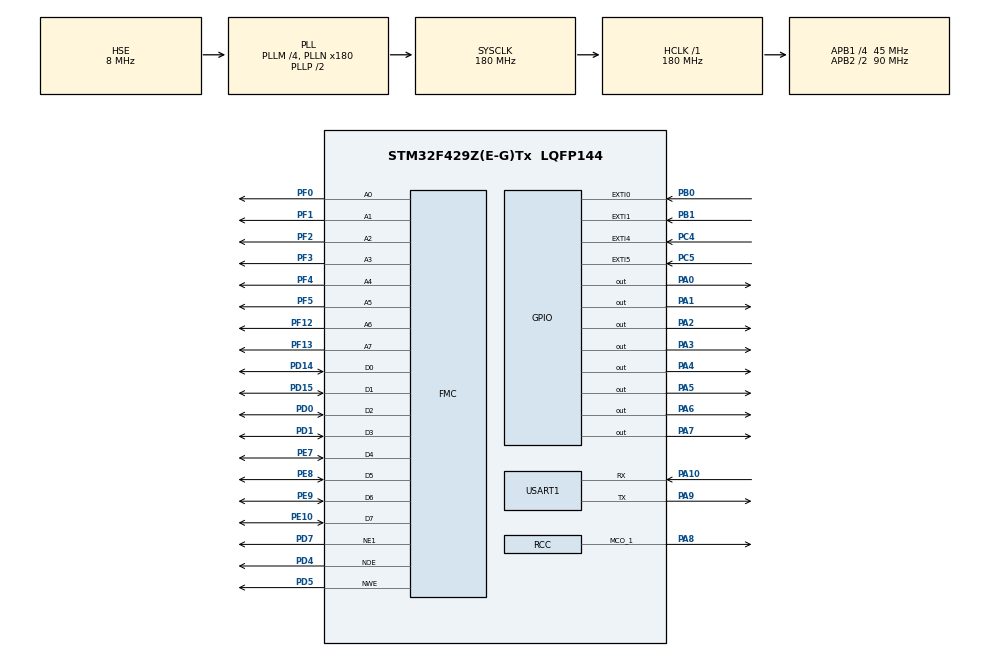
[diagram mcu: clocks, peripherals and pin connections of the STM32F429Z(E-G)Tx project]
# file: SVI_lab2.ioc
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Mcu.Family=STM32F4
PD7.Mode=NorPsramChipSelect1_1
SH.FMC_D7_DA7.0=FMC_D7,8b-d1
RCC.CortexFreq_Value=180000000
SH.FMC_A0.0=FMC_A0,8b-a1
SH.FMC_D6_DA6.0=FMC_D6,8b-d1
PA0/WKUP.Signal=GPIO_Output
SH.FMC_D5_DA5.0=FMC_D5,8b-d1
FMC.WriteOperation1=FMC_WRITE_OPERATION_ENABLE
SH.FMC_NWE.0=FMC_NWE,Sram1
RCC.SYSCLKSource=RCC_SYSCLKSOURCE_PLLCLK
ProjectManager.StackSize=0x400
SH.FMC_A7.0=FMC_A7,8b-a1
NVIC.EXTI1_IRQn=true\:0\:0\:false\:false\:true\:true\:true
PH0/OSC_IN.Mode=HSE-External-Oscillator
PB1.GPIO_PuPd=GPIO_PULLUP
RCC.HCLKFreq_Value=180000000
PD4.Signal=FMC_NOE
RCC.APB2TimFreq_Value=180000000
PB1.GPIO_ModeDefaultEXTI=GPIO_MODE_IT_RISING
PH1/OSC_OUT.Signal=RCC_OSC_OUT
PF12.Signal=FMC_A6
PD0.Signal=FMC_D2_DA2
RCC.AHBFreq_Value=180000000
RCC.HSE_VALUE=8000000
PB0.GPIO_ModeDefaultEXTI=GPIO_MODE_IT_RISING
SH.FMC_D2_DA2.0=FMC_D2,8b-d1
PE9.Signal=FMC_D6_DA6
SH.FMC_A2.0=FMC_A2,8b-a1
PA8.Signal=RCC_MCO_1
SH.FMC_D1_DA1.0=FMC_D1,8b-d1
PF3.Signal=FMC_A3
PH1/OSC_OUT.Mode=HSE-External-Oscillator
PE10.Signal=FMC_D7_DA7
Mcu.Package=LQFP144
PB1.Signal=GPXTI1
PA6.Signal=GPIO_Output
SH.FMC_D0_DA0.0=FMC_D0,8b-d1
PA10.Signal=USART1_RX
SH.FMC_D4_DA4.0=FMC_D4,8b-d1
PF5.Signal=FMC_A5
SH.FMC_A1.0=FMC_A1,8b-a1
RCC.APB2CLKDivider=RCC_HCLK_DIV2
RCC.APB1TimFreq_Value=90000000
PF0.Signal=FMC_A0
PC5.Signal=GPXTI5
PE7.Signal=FMC_D4_DA4
PD15.Signal=FMC_D1_DA1
SH.FMC_D3_DA3.0=FMC_D3,8b-d1
PA3.Signal=GPIO_Output
RCC.PLLSourceVirtual=RCC_PLLSOURCE_HSE
NVIC.EXTI4_IRQn=true\:0\:0\:false\:false\:true\:true\:true
SH.FMC_A4.0=FMC_A4,8b-a1
PC4.GPIO_ModeDefaultEXTI=GPIO_MODE_IT_RISING
PA10.Mode=Asynchronous
PC4.GPIO_PuPd=GPIO_PULLUP
PC4.Signal=GPXTI4
PD7.Signal=FMC_NE1
PD1.Signal=FMC_D3_DA3
PD5.Signal=FMC_NWE
RCC.APB1CLKDivider=RCC_HCLK_DIV4
PC5.GPIO_PuPd=GPIO_PULLUP
SH.FMC_NOE.0=FMC_NOE,Sram1
SH.FMC_A3.0=FMC_A3,8b-a1
PA9.Mode=Asynchronous
ProjectManager.TargetToolchain=TrueSTUDIO
PA9.Signal=USART1_TX
PF2.Signal=FMC_A2
RCC.LSE_VALUE=32768
PA1.Signal=GPIO_Output
PC5.GPIO_ModeDefaultEXTI=GPIO_MODE_IT_RISING
PA5.Signal=GPIO_Output
board=custom
RCC.VCOOutputFreq_Value=360000000
PH0/OSC_IN.Signal=RCC_OSC_IN
SH.FMC_A6.0=FMC_A6,8b-a1
RCC.APB2Freq_Value=90000000
PE8.Signal=FMC_D5_DA5
PF13.Signal=FMC_A7
PF1.Signal=FMC_A1
Mcu.Name=STM32F429Z(E-G)Tx
PA2.Signal=GPIO_Output
PD14.Signal=FMC_D0_DA0
RCC.48MHZClocksFreq_Value=90000000
NVIC.EXTI0_IRQn=true\:0\:0\:false\:false\:true\:true\:true
PA4.Signal=GPIO_Output
RCC.SYSCLKFreq_VALUE=180000000
USART1.VirtualMode=VM_ASYNC
SH.FMC_A5.0=FMC_A5,8b-a1
NVIC.EXTI9_5_IRQn=true\:0\:0\:false\:false\:true\:true\:true
ProjectManager.HeapSize=0x200
RCC.HSI_VALUE=16000000
NVIC.PriorityGroup=NVIC_PRIORITYGROUP_4
RCC.PLLM=4
RCC.PLLN=180
PA8.Mode=Clock-out-1
PF4.Signal=FMC_A4
RCC.APB1Freq_Value=45000000
PB0.Signal=GPXTI0
PB0.GPIO_PuPd=GPIO_PULLUP
PA7.Signal=GPIO_Output

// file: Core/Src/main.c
/* USER CODE BEGIN Header */
/**
  ******************************************************************************
  * @file           : main.c
  * @brief          : Main program body
  ******************************************************************************
  * @attention
  *
  * <h2><center>&copy; Copyright (c) 2021 STMicroelectronics.
  * All rights reserved.</center></h2>
  *
  * This software component is licensed by ST under BSD 3-Clause license,
  * the "License"; You may not use this file except in compliance with the
  * License. You may obtain a copy of the License at:
  *                        opensource.org/licenses/BSD-3-Clause
  *
  ******************************************************************************
  */
/* USER CODE END Header */
#include "main.h"

UART_HandleTypeDef huart1;

SRAM_HandleTypeDef hsram1;

void SystemClock_Config(void);
static void MX_GPIO_Init(void);
static void MX_FMC_Init(void);
static void MX_USART1_UART_Init(void);
void ExtSramWrite(uint32_t addr, uint8_t data);
void Reset_HLx_Leds();
void Rest_all();

/* USER CODE BEGIN 0 */
/* Global vars for interrupt handling */
uint8_t btn1_flag = 0;
uint8_t btn2_flag = 0;
uint8_t btn3_flag = 0;
uint8_t btn4_flag = 0;
uint8_t prev_state = 0;
/* USER CODE END 0 */

int main(void)
{

  /* MCU Configuration--------------------------------------------------------*/

  /* Reset of all peripherals, Initializes the Flash interface and the Systick. */
  HAL_Init();

  /* Configure the system clock */
  SystemClock_Config();

  /* Initialize all configured peripherals */
  MX_GPIO_Init();
  MX_FMC_Init();
  MX_USART1_UART_Init();

  /* Infinite loop */
  while (1)
  {

    /* USER CODE BEGIN 3 */
	  Reset_all();

	  if(btn1_flag == 1) {
		  btn1_flag = 0;
		  /*Mode 1*/
		  ExtSramWrite(0x60000001, 0xCC);
		  Reset_HLx_Leds();
		  HAL_GPIO_WritePin(GPIOA, GPIO_PIN_2|GPIO_PIN_3|
								   GPIO_PIN_6|GPIO_PIN_7, GPIO_PIN_SET);
		  HAL_Delay(500);

		  ExtSramWrite(0x60000001, 0x33);
		  Reset_HLx_Leds();
		  HAL_GPIO_WritePin(GPIOA, GPIO_PIN_0|GPIO_PIN_1|
								   GPIO_PIN_4|GPIO_PIN_5, GPIO_PIN_SET);
		  HAL_Delay(500);

		  /*Mode 2*/
		  ExtSramWrite(0x60000001, 0xF0);
		  Reset_HLx_Leds();
		  HAL_GPIO_WritePin(GPIOA, GPIO_PIN_4|GPIO_PIN_5|
								   GPIO_PIN_6|GPIO_PIN_7, GPIO_PIN_SET);
		  HAL_Delay(500);
		  ExtSramWrite(0x60000001, 0xF);
		  Reset_HLx_Leds();
		  HAL_GPIO_WritePin(GPIOA, GPIO_PIN_0|GPIO_PIN_1|
								   GPIO_PIN_2|GPIO_PIN_3, GPIO_PIN_SET);
		  HAL_Delay(500);

	  } else if(btn2_flag == 1) {
		  btn2_flag = 0;
		  /*Mode 3*/
		  ExtSramWrite(0x60000001, 0xC3);
		  Reset_HLx_Leds();
		  HAL_GPIO_WritePin(GPIOA, GPIO_PIN_0|GPIO_PIN_1|
								   GPIO_PIN_6|GPIO_PIN_7, GPIO_PIN_SET);
		  HAL_Delay(500);
		  ExtSramWrite(0x60000001, 0x3C);
		  Reset_HLx_Leds();
		  HAL_GPIO_WritePin(GPIOA, GPIO_PIN_2|GPIO_PIN_3|
								   GPIO_PIN_4|GPIO_PIN_5, GPIO_PIN_SET);
		  HAL_Delay(500);

		  /*Mode 4*/
		  ExtSramWrite(0x60000001, 0xE7);
		  Reset_HLx_Leds();
		  HAL_GPIO_WritePin(GPIOA, GPIO_PIN_0|GPIO_PIN_1|GPIO_PIN_2|GPIO_PIN_5|
								   GPIO_PIN_6|GPIO_PIN_7, GPIO_PIN_SET);
		  HAL_Delay(500);
		  ExtSramWrite(0x60000001, 0x18);
		  Reset_HLx_Leds();
		  HAL_GPIO_WritePin(GPIOA, GPIO_PIN_3|GPIO_PIN_4, GPIO_PIN_SET);
		  HAL_Delay(500);

	  } else if(btn3_flag == 1) {
		  btn3_flag = 0;
		  /*Mode 5*/
		  ExtSramWrite(0x60000001, 0x66);
		  Reset_HLx_Leds();
		  HAL_GPIO_WritePin(GPIOA, GPIO_PIN_1|GPIO_PIN_2|
								   GPIO_PIN_5|GPIO_PIN_6, GPIO_PIN_SET);
		  HAL_Delay(500);
		  ExtSramWrite(0x60000001, 0x99);
		  Reset_HLx_Leds();
		  HAL_GPIO_WritePin(GPIOA, GPIO_PIN_0|GPIO_PIN_3|
								   GPIO_PIN_4|GPIO_PIN_7, GPIO_PIN_SET);
		  HAL_Delay(500);

		  /*Mode 6*/
		  ExtSramWrite(0x60000001, 0x7E);
		  Reset_HLx_Leds();
		  HAL_GPIO_WritePin(GPIOA, GPIO_PIN_1|GPIO_PIN_2|GPIO_PIN_3|GPIO_PIN_4|
								   GPIO_PIN_5|GPIO_PIN_6, GPIO_PIN_SET);
		  HAL_Delay(500);
		  ExtSramWrite(0x60000001, 0x81);
		  Reset_HLx_Leds();
		  HAL_GPIO_WritePin(GPIOA, GPIO_PIN_0|GPIO_PIN_7, GPIO_PIN_SET);
		  HAL_Delay(500);

	  } else if(btn4_flag == 1) {
		  btn4_flag = 0;
		  /*Mode 7*/
		  ExtSramWrite(0x60000001, 0x5A);
		  Reset_HLx_Leds();
		  HAL_GPIO_WritePin(GPIOA, GPIO_PIN_1|GPIO_PIN_3|
								   GPIO_PIN_4|GPIO_PIN_6, GPIO_PIN_SET);
		  HAL_Delay(500);
		  ExtSramWrite(0x60000001, 0xA5);
		  Reset_HLx_Leds();
		  HAL_GPIO_WritePin(GPIOA, GPIO_PIN_0|GPIO_PIN_2|
								   GPIO_PIN_5|GPIO_PIN_7, GPIO_PIN_SET);
		  HAL_Delay(500);

		  /*Mode 8*/
		  ExtSramWrite(0x60000001, 0x8E);
		  Reset_HLx_Leds();\
		  HAL_GPIO_WritePin(GPIOA, GPIO_PIN_1|GPIO_PIN_2|
								   GPIO_PIN_3|GPIO_PIN_7, GPIO_PIN_SET);
		  HAL_Delay(500);
		  ExtSramWrite(0x60000001, 0x71);
		  Reset_HLx_Leds();
		  HAL_GPIO_WritePin(GPIOA, GPIO_PIN_0|GPIO_PIN_4|
								   GPIO_PIN_5|GPIO_PIN_6, GPIO_PIN_SET);
		  HAL_Delay(500);
	  }
	}
  /* USER CODE END 3 */
}

void SystemClock_Config(void)
{
  RCC_OscInitTypeDef RCC_OscInitStruct = {0};
  RCC_ClkInitTypeDef RCC_ClkInitStruct = {0};

  /** Configure the main internal regulator output voltage
  */
  __HAL_RCC_PWR_CLK_ENABLE();
  __HAL_PWR_VOLTAGESCALING_CONFIG(PWR_REGULATOR_VOLTAGE_SCALE1);
  /** Initializes the RCC Oscillators according to the specified parameters
  * in the RCC_OscInitTypeDef structure.
  */
  RCC_OscInitStruct.OscillatorType = RCC_OSCILLATORTYPE_HSI|RCC_OSCILLATORTYPE_HSE;
  RCC_OscInitStruct.HSEState = RCC_HSE_ON;
  RCC_OscInitStruct.HSIState = RCC_HSI_ON;
  RCC_OscInitStruct.HSICalibrationValue = RCC_HSICALIBRATION_DEFAULT;
  RCC_OscInitStruct.PLL.PLLState = RCC_PLL_ON;
  RCC_OscInitStruct.PLL.PLLSource = RCC_PLLSOURCE_HSE;
  RCC_OscInitStruct.PLL.PLLM = 4;
  RCC_OscInitStruct.PLL.PLLN = 180;
  RCC_OscInitStruct.PLL.PLLP = RCC_PLLP_DIV2;
  RCC_OscInitStruct.PLL.PLLQ = 4;
  if (HAL_RCC_OscConfig(&RCC_OscInitStruct) != HAL_OK)
  {
    Error_Handler();
  }
  /** Activate the Over-Drive mode
  */
  if (HAL_PWREx_EnableOverDrive() != HAL_OK)
  {
    Error_Handler();
  }
  /** Initializes the CPU, AHB and APB buses clocks
  */
  RCC_ClkInitStruct.ClockType = RCC_CLOCKTYPE_HCLK|RCC_CLOCKTYPE_SYSCLK
                              |RCC_CLOCKTYPE_PCLK1|RCC_CLOCKTYPE_PCLK2;
  RCC_ClkInitStruct.SYSCLKSource = RCC_SYSCLKSOURCE_PLLCLK;
  RCC_ClkInitStruct.AHBCLKDivider = RCC_SYSCLK_DIV1;
  RCC_ClkInitStruct.APB1CLKDivider = RCC_HCLK_DIV4;
  RCC_ClkInitStruct.APB2CLKDivider = RCC_HCLK_DIV2;

  if (HAL_RCC_ClockConfig(&RCC_ClkInitStruct, FLASH_LATENCY_5) != HAL_OK)
  {
    Error_Handler();
  }
  HAL_RCC_MCOConfig(RCC_MCO1, RCC_MCO1SOURCE_HSI, RCC_MCODIV_1);
}

static void MX_USART1_UART_Init(void)
{

  huart1.Instance = USART1;
  huart1.Init.BaudRate = 115200;
  huart1.Init.WordLength = UART_WORDLENGTH_8B;
  huart1.Init.StopBits = UART_STOPBITS_1;
  huart1.Init.Parity = UART_PARITY_NONE;
  huart1.Init.Mode = UART_MODE_TX_RX;
  huart1.Init.HwFlowCtl = UART_HWCONTROL_NONE;
  huart1.Init.OverSampling = UART_OVERSAMPLING_16;
  if (HAL_UART_Init(&huart1) != HAL_OK)
  {
    Error_Handler();
  }

}

/* FMC initialization function */
static void MX_FMC_Init(void)
{

  FMC_NORSRAM_TimingTypeDef Timing = {0};

  /** Perform the SRAM1 memory initialization sequence
  */
  hsram1.Instance = FMC_NORSRAM_DEVICE;
  hsram1.Extended = FMC_NORSRAM_EXTENDED_DEVICE;
  /* hsram1.Init */
  hsram1.Init.NSBank = FMC_NORSRAM_BANK1;
  hsram1.Init.DataAddressMux = FMC_DATA_ADDRESS_MUX_DISABLE;
  hsram1.Init.MemoryType = FMC_MEMORY_TYPE_SRAM;
  hsram1.Init.MemoryDataWidth = FMC_NORSRAM_MEM_BUS_WIDTH_8;
  hsram1.Init.BurstAccessMode = FMC_BURST_ACCESS_MODE_DISABLE;
  hsram1.Init.WaitSignalPolarity = FMC_WAIT_SIGNAL_POLARITY_LOW;
  hsram1.Init.WrapMode = FMC_WRAP_MODE_DISABLE;
  hsram1.Init.WaitSignalActive = FMC_WAIT_TIMING_BEFORE_WS;
  hsram1.Init.WriteOperation = FMC_WRITE_OPERATION_ENABLE;
  hsram1.Init.WaitSignal = FMC_WAIT_SIGNAL_DISABLE;
  hsram1.Init.ExtendedMode = FMC_EXTENDED_MODE_DISABLE;
  hsram1.Init.AsynchronousWait = FMC_ASYNCHRONOUS_WAIT_DISABLE;
  hsram1.Init.WriteBurst = FMC_WRITE_BURST_DISABLE;
  hsram1.Init.ContinuousClock = FMC_CONTINUOUS_CLOCK_SYNC_ONLY;
  hsram1.Init.PageSize = FMC_PAGE_SIZE_NONE;
  /* Timing */
  Timing.AddressSetupTime = 15;
  Timing.AddressHoldTime = 15;
  Timing.DataSetupTime = 255;
  Timing.BusTurnAroundDuration = 15;
  Timing.CLKDivision = 16;
  Timing.DataLatency = 17;
  Timing.AccessMode = FMC_ACCESS_MODE_A;
  /* ExtTiming */

  if (HAL_SRAM_Init(&hsram1, &Timing, NULL) != HAL_OK)
  {
    Error_Handler( );
  }

}

static void MX_GPIO_Init(void)
{
  GPIO_InitTypeDef GPIO_InitStruct = {0};

  /* GPIO Ports Clock Enable */
  __HAL_RCC_GPIOF_CLK_ENABLE();
  __HAL_RCC_GPIOH_CLK_ENABLE();
  __HAL_RCC_GPIOA_CLK_ENABLE();
  __HAL_RCC_GPIOC_CLK_ENABLE();
  __HAL_RCC_GPIOB_CLK_ENABLE();
  __HAL_RCC_GPIOE_CLK_ENABLE();
  __HAL_RCC_GPIOD_CLK_ENABLE();

  /*Configure GPIO pin Output Level */
  HAL_GPIO_WritePin(GPIOA, GPIO_PIN_0|GPIO_PIN_1|GPIO_PIN_2|GPIO_PIN_3
                          |GPIO_PIN_4|GPIO_PIN_5|GPIO_PIN_6|GPIO_PIN_7, GPIO_PIN_RESET);

  /*Configure GPIO pins : PA0 PA1 PA2 PA3
                           PA4 PA5 PA6 PA7 */
  GPIO_InitStruct.Pin = GPIO_PIN_0|GPIO_PIN_1|GPIO_PIN_2|GPIO_PIN_3
                          |GPIO_PIN_4|GPIO_PIN_5|GPIO_PIN_6|GPIO_PIN_7;
  GPIO_InitStruct.Mode = GPIO_MODE_OUTPUT_PP;
  GPIO_InitStruct.Pull = GPIO_NOPULL;
  GPIO_InitStruct.Speed = GPIO_SPEED_FREQ_LOW;
  HAL_GPIO_Init(GPIOA, &GPIO_InitStruct);

  /*Configure GPIO pins : PC4 PC5 */
  GPIO_InitStruct.Pin = GPIO_PIN_4|GPIO_PIN_5;
  GPIO_InitStruct.Mode = GPIO_MODE_IT_RISING;
  GPIO_InitStruct.Pull = GPIO_PULLUP;
  HAL_GPIO_Init(GPIOC, &GPIO_InitStruct);

  /*Configure GPIO pins : PB0 PB1 */
  GPIO_InitStruct.Pin = GPIO_PIN_0|GPIO_PIN_1;
  GPIO_InitStruct.Mode = GPIO_MODE_IT_RISING;
  GPIO_InitStruct.Pull = GPIO_PULLUP;
  HAL_GPIO_Init(GPIOB, &GPIO_InitStruct);

  /*Configure GPIO pin : PA8 */
  GPIO_InitStruct.Pin = GPIO_PIN_8;
  GPIO_InitStruct.Mode = GPIO_MODE_AF_PP;
  GPIO_InitStruct.Pull = GPIO_NOPULL;
  GPIO_InitStruct.Speed = GPIO_SPEED_FREQ_LOW;
  GPIO_InitStruct.Alternate = GPIO_AF0_MCO;
  HAL_GPIO_Init(GPIOA, &GPIO_InitStruct);

  /* EXTI interrupt init*/
  HAL_NVIC_SetPriority(EXTI0_IRQn, 0, 0);
  HAL_NVIC_EnableIRQ(EXTI0_IRQn);

  HAL_NVIC_SetPriority(EXTI1_IRQn, 0, 0);
  HAL_NVIC_EnableIRQ(EXTI1_IRQn);

  HAL_NVIC_SetPriority(EXTI4_IRQn, 0, 0);
  HAL_NVIC_EnableIRQ(EXTI4_IRQn);

  HAL_NVIC_SetPriority(EXTI9_5_IRQn, 0, 0);
  HAL_NVIC_EnableIRQ(EXTI9_5_IRQn);

}

/* USER CODE BEGIN 4 */
/*
 * Write data to the address from addr-value
 */
void ExtSramWrite(uint32_t addr, uint8_t data) {
	uint8_t* pAddress = (uint8_t*)addr;
	*pAddress = data;
}

/*
 * Reset leds in line HL0..HL7 on board
 */
void Reset_HLx_Leds() {
    HAL_GPIO_WritePin(GPIOA, GPIO_PIN_0|GPIO_PIN_1|GPIO_PIN_2|GPIO_PIN_3
                            |GPIO_PIN_4|GPIO_PIN_5|GPIO_PIN_6|GPIO_PIN_7, GPIO_PIN_RESET);
}
/*
 * Reset all peripherals LEDS
 */
void Reset_all() {
	Reset_HLx_Leds();
	ExtSramWrite(0x60000001, 0x00);

}

/* Callback from buttons IRQhandler */
void HAL_GPIO_EXTI_Callback(uint16_t GPIO_Pin) {
	if(GPIO_Pin == GPIO_PIN_4) {
		//BTN1 were pressed
		btn1_flag = 1;
	} else if(GPIO_Pin == GPIO_PIN_5) {
		//BTN2 were pressed
		btn2_flag = 1;
	} else if(GPIO_Pin == GPIO_PIN_0) {
		//BTN3 were pressed
		btn3_flag = 1;
	} else if(GPIO_Pin == GPIO_PIN_1) {
		//BTN4 were pressed
		btn4_flag = 1;
	} else {
		__NOP();
	}
}

/* USER CODE END 4 */

void Error_Handler(void)
{
  __disable_irq();
  while (1)
  {
  }
}

/************************ (C) COPYRIGHT STMicroelectronics *****END OF FILE****/
